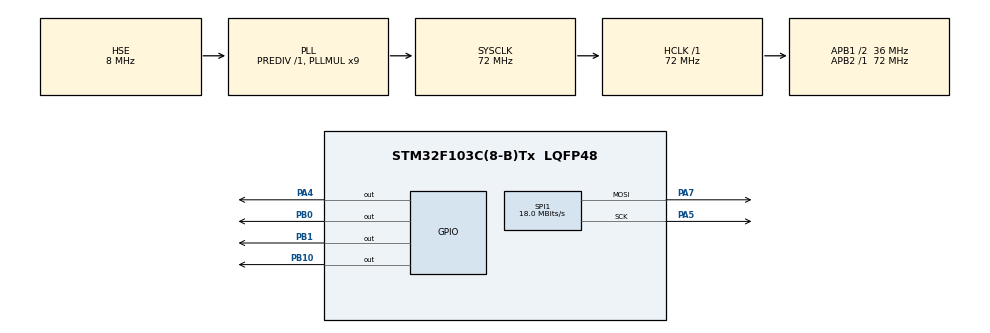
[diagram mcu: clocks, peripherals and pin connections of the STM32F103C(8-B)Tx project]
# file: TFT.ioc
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Dma.Request0=SPI1_TX
Dma.SPI1_TX.0.Direction=DMA_MEMORY_TO_PERIPH
Dma.SPI1_TX.0.Instance=DMA1_Channel3
Dma.SPI1_TX.0.MemDataAlignment=DMA_MDATAALIGN_BYTE
Dma.SPI1_TX.0.MemInc=DMA_MINC_ENABLE
Dma.SPI1_TX.0.Mode=DMA_NORMAL
Dma.SPI1_TX.0.PeriphDataAlignment=DMA_PDATAALIGN_BYTE
Dma.SPI1_TX.0.PeriphInc=DMA_PINC_DISABLE
Dma.SPI1_TX.0.Priority=DMA_PRIORITY_MEDIUM
Mcu.Family=STM32F1
Mcu.Name=STM32F103C(8-B)Tx
Mcu.Package=LQFP48
NVIC.DMA1_Channel3_IRQn=true\:5\:0\:true\:false\:true\:false\:true\:true
NVIC.PriorityGroup=NVIC_PRIORITYGROUP_4
PA13.Mode=Serial_Wire
PA13.Signal=SYS_JTMS-SWDIO
PA14.Mode=Serial_Wire
PA14.Signal=SYS_JTCK-SWCLK
PA4.GPIO_Speed=GPIO_SPEED_FREQ_HIGH
PA4.PinState=GPIO_PIN_SET
PA4.Signal=GPIO_Output
PA5.Mode=TX_Only_Simplex_Unidirect_Master
PA5.Signal=SPI1_SCK
PA7.Mode=TX_Only_Simplex_Unidirect_Master
PA7.Signal=SPI1_MOSI
PB0.GPIO_Speed=GPIO_SPEED_FREQ_HIGH
PB0.Signal=GPIO_Output
PB1.GPIO_Speed=GPIO_SPEED_FREQ_HIGH
PB1.Signal=GPIO_Output
PB10.GPIO_Speed=GPIO_SPEED_FREQ_HIGH
PB10.Signal=GPIO_Output
PC14-OSC32_IN.Mode=LSE-External-Oscillator
PC14-OSC32_IN.Signal=RCC_OSC32_IN
PC15-OSC32_OUT.Mode=LSE-External-Oscillator
PC15-OSC32_OUT.Signal=RCC_OSC32_OUT
PD0-OSC_IN.Mode=HSE-External-Oscillator
PD0-OSC_IN.Signal=RCC_OSC_IN
PD1-OSC_OUT.Mode=HSE-External-Oscillator
PD1-OSC_OUT.Signal=RCC_OSC_OUT
ProjectManager.HeapSize=0x200
ProjectManager.StackSize=0x400
ProjectManager.TargetToolchain=MDK-ARM V5.32
RCC.AHBFreq_Value=72000000
RCC.APB1CLKDivider=RCC_HCLK_DIV2
RCC.APB1Freq_Value=36000000
RCC.APB1TimFreq_Value=72000000
RCC.APB2Freq_Value=72000000
RCC.APB2TimFreq_Value=72000000
RCC.HCLKFreq_Value=72000000
RCC.PLLMUL=RCC_PLL_MUL9
RCC.PLLSourceVirtual=RCC_PLLSOURCE_HSE
RCC.SYSCLKFreq_VALUE=72000000
RCC.SYSCLKSource=RCC_SYSCLKSOURCE_PLLCLK
RCC.USBFreq_Value=72000000
SPI1.BaudRatePrescaler=SPI_BAUDRATEPRESCALER_4
SPI1.CLKPhase=SPI_PHASE_2EDGE
SPI1.CLKPolarity=SPI_POLARITY_HIGH
SPI1.CalculateBaudRate=18.0 MBits/s
SPI1.Direction=SPI_DIRECTION_2LINES
SPI1.Mode=SPI_MODE_MASTER
SPI1.VirtualType=VM_MASTER
board=custom

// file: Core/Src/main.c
/* USER CODE BEGIN Header */
/**
  ******************************************************************************
  * @file           : main.c
  * @brief          : Main program body
  ******************************************************************************
  * @attention
  *
  * Copyright (c) 2025 STMicroelectronics.
  * All rights reserved.
  *
  * This software is licensed under terms that can be found in the LICENSE file
  * in the root directory of this software component.
  * If no LICENSE file comes with this software, it is provided AS-IS.
  *
  ******************************************************************************
  */
/* USER CODE END Header */
#include "main.h"
#include "dma.h"
#include "spi.h"
#include "gpio.h"

/* USER CODE BEGIN Includes */
#include "st7735.h"
#include "stfonts.h"
#include <stdio.h>
#include "stimage.h"
/* USER CODE END Includes */

void SystemClock_Config(void);

int main(void)
{

  /* MCU Configuration--------------------------------------------------------*/

  /* Reset of all peripherals, Initializes the Flash interface and the Systick. */
  HAL_Init();

  /* Configure the system clock */
  SystemClock_Config();

  /* Initialize all configured peripherals */
  MX_GPIO_Init();
  MX_DMA_Init();
  MX_SPI1_Init();
  /* USER CODE BEGIN 2 */
  HAL_Delay(1000);
  st7735_init();

  st7735_fill_screen(0xF000);
  st7735_draw_image(0, 0, image_tv_128x72.width, image_tv_128x72.height, (uint8_t *)image_tv_128x72.data);

  uint32_t i = 0;
  char str[32];
  /* USER CODE END 2 */

  /* Infinite loop */
  /* USER CODE BEGIN WHILE */
  while (1)
  {
    sprintf(str, "%04u", i++);
    i = i % 10000;
    st7735_write_string(0, 120, str, &font_ascii_8x16, ST7735_RED, ST7735_GREEN);
    st7735_write_fonts(50, 120, &font_ni_hao_shi_jie_16x16, 0, 4, ST7735_RED, ST7735_GREEN);
    HAL_Delay(1000);

    /* USER CODE END WHILE */

  }
}

void SystemClock_Config(void)
{
  RCC_OscInitTypeDef RCC_OscInitStruct = {0};
  RCC_ClkInitTypeDef RCC_ClkInitStruct = {0};

  /** Initializes the RCC Oscillators according to the specified parameters
  * in the RCC_OscInitTypeDef structure.
  */
  RCC_OscInitStruct.OscillatorType = RCC_OSCILLATORTYPE_HSE;
  RCC_OscInitStruct.HSEState = RCC_HSE_ON;
  RCC_OscInitStruct.HSEPredivValue = RCC_HSE_PREDIV_DIV1;
  RCC_OscInitStruct.HSIState = RCC_HSI_ON;
  RCC_OscInitStruct.PLL.PLLState = RCC_PLL_ON;
  RCC_OscInitStruct.PLL.PLLSource = RCC_PLLSOURCE_HSE;
  RCC_OscInitStruct.PLL.PLLMUL = RCC_PLL_MUL9;
  if (HAL_RCC_OscConfig(&RCC_OscInitStruct) != HAL_OK)
  {
    Error_Handler();
  }

  /** Initializes the CPU, AHB and APB buses clocks
  */
  RCC_ClkInitStruct.ClockType = RCC_CLOCKTYPE_HCLK|RCC_CLOCKTYPE_SYSCLK
                              |RCC_CLOCKTYPE_PCLK1|RCC_CLOCKTYPE_PCLK2;
  RCC_ClkInitStruct.SYSCLKSource = RCC_SYSCLKSOURCE_PLLCLK;
  RCC_ClkInitStruct.AHBCLKDivider = RCC_SYSCLK_DIV1;
  RCC_ClkInitStruct.APB1CLKDivider = RCC_HCLK_DIV2;
  RCC_ClkInitStruct.APB2CLKDivider = RCC_HCLK_DIV1;

  if (HAL_RCC_ClockConfig(&RCC_ClkInitStruct, FLASH_LATENCY_2) != HAL_OK)
  {
    Error_Handler();
  }
}

void Error_Handler(void)
{
  __disable_irq();
  while (1)
  {
  }
}
